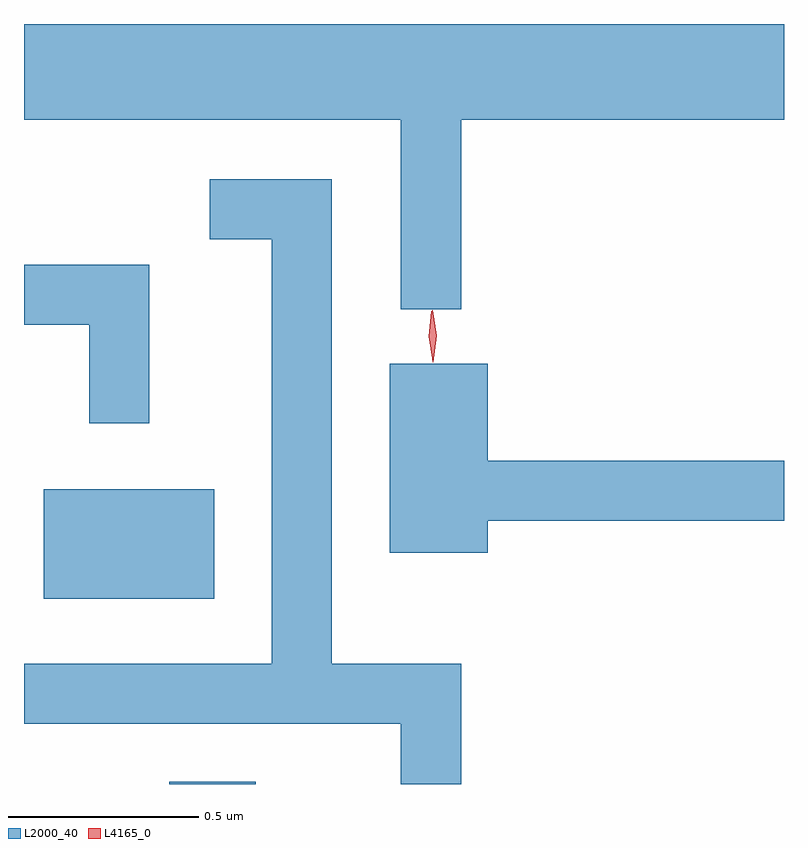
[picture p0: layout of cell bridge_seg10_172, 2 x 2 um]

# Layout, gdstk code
import gdstk
lib = gdstk.Library(unit=1e-6, precision=1e-09)
def R(c, l, rs):  # rectangles x0, y0, x1, y1
    for r in rs: c.add(gdstk.rectangle(r[:2], r[2:], *l))
def P(c, l, *ps):  # polygons
    for p in ps: c.add(gdstk.Polygon(p, *l))
L2000_40 = (2000, 40)
L4165_0 = (4165, 0)

bridge_seg10_172 = lib.new_cell('bridge_seg10_172')
R(bridge_seg10_172, L2000_40, [(1571.826,2138.808,1572.054,2138.814), (1571.496,2139.296,1571.944,2139.584)])
P(bridge_seg10_172, L2000_40, [(1572.594,2140.556),(1573.444,2140.556),(1573.444,2140.808),(1571.444,2140.808),(1571.444,2140.556),(1572.436,2140.556),(1572.436,2140.058),(1572.594,2140.058)],
  [(1572.594,2139.124),(1572.254,2139.124),(1572.254,2140.399),(1571.933,2140.399),(1571.933,2140.241),(1572.096,2140.241),(1572.096,2139.124),(1571.444,2139.124),(1571.444,2138.966),(1572.436,2138.966),(1572.436,2138.808),(1572.594,2138.808)],
  [(1571.774,2140.174),(1571.444,2140.174),(1571.444,2140.016),(1571.616,2140.016),(1571.616,2139.758),(1571.774,2139.758)],
  [(1572.664,2139.501),(1573.444,2139.501),(1573.444,2139.659),(1572.664,2139.659),(1572.664,2139.914),(1572.406,2139.914),(1572.406,2139.416),(1572.664,2139.416)])
P(bridge_seg10_172, L4165_0, [(1572.52,2139.918),(1572.51,2139.986),(1572.518,2140.055),(1572.518,2140.055),(1572.519,2140.055),(1572.53,2139.987),(1572.521,2139.918),(1572.521,2139.918)],
  [(1572.521,2139.92),(1572.52,2139.921),(1572.509,2139.986),(1572.516,2140.052),(1572.517,2140.052),(1572.517,2140.052),(1572.529,2139.986),(1572.521,2139.921)])

lib.write_gds('bridge_seg10_172.gds')
